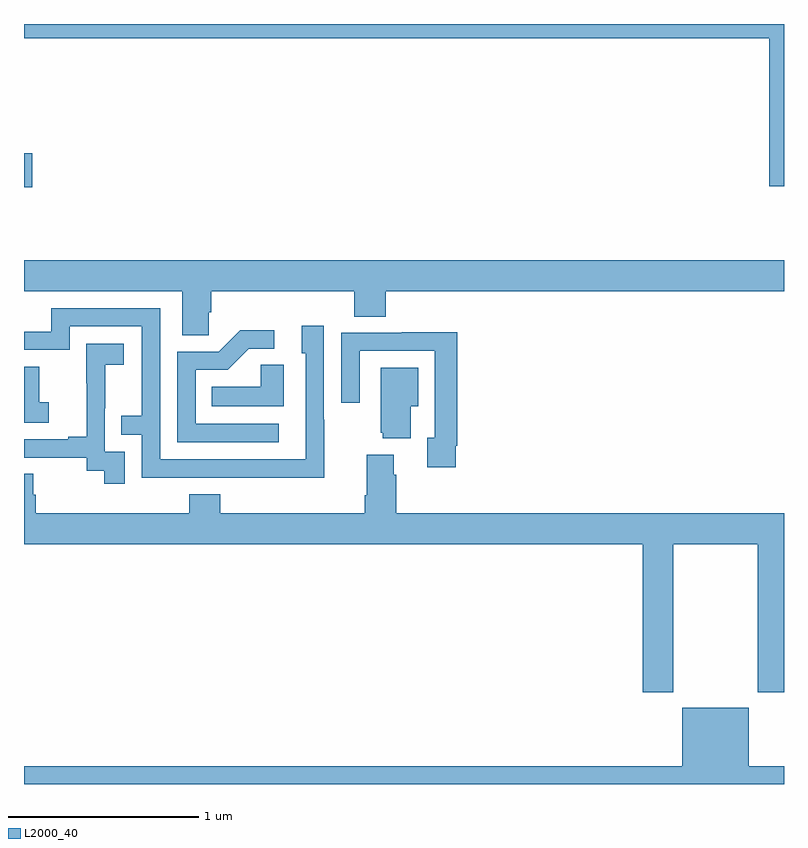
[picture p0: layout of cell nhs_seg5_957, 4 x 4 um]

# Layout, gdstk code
import gdstk
lib = gdstk.Library(unit=1e-6, precision=1e-09)
def R(c, l, rs):  # rectangles x0, y0, x1, y1
    for r in rs: c.add(gdstk.rectangle(r[:2], r[2:], *l))
def P(c, l, *ps):  # polygons
    for p in ps: c.add(gdstk.Polygon(p, *l))
L2000_40 = (2000, 40)

nhs_seg5_957 = lib.new_cell('nhs_seg5_957')
R(nhs_seg5_957, L2000_40, [(171,891.94,171.043,892.118)])
P(nhs_seg5_957, L2000_40, [(175,892.799),(171,892.799),(171,892.724),(174.923,892.724),(174.923,891.945),(175,891.945)],
  [(171.972,891.283),(171.986,891.283),(171.986,891.392),(172.739,891.392),(172.739,891.259),(172.904,891.259),(172.904,891.392),(175,891.392),(175,891.556),(171,891.556),(171,891.392),(171.833,891.392),(171.833,891.16),(171.972,891.16)],
  [(172.581,890.717),(172.578,890.717),(172.578,891.211),(172.463,891.211),(172.463,891.066),(172.482,891.066),(172.482,890.508),(171.717,890.508),(171.717,891.303),(171.143,891.303),(171.143,891.18),(171,891.18),(171,891.084),(171.24,891.084),(171.24,891.207),(171.621,891.207),(171.621,890.738),(171.511,890.738),(171.511,890.637),(171.621,890.637),(171.621,890.412),(172.117,890.412),(172.117,890.411),(172.581,890.411)],
  [(172.342,890.694),(171.903,890.694),(171.903,890.979),(172.072,890.979),(172.183,891.09),(172.318,891.09),(172.318,891.188),(172.139,891.188),(172.026,891.075),(171.807,891.075),(171.807,890.598),(172.342,890.598)],
  [(173.272,890.578),(173.279,890.578),(173.279,891.176),(172.987,891.176),(172.987,891.174),(172.671,891.174),(172.671,890.805),(172.767,890.805),(172.767,891.078),(173.163,891.078),(173.163,890.622),(173.123,890.622),(173.123,890.466),(173.272,890.466)],
  [(171.531,890.547),(171.426,890.547),(171.426,890.777),(171.428,890.777),(171.428,891.005),(171.526,891.005),(171.526,891.115),(171.328,891.115),(171.328,890.909),(171.329,890.909),(171.329,890.626),(171.233,890.626),(171.233,890.613),(171,890.613),(171,890.517),(171.33,890.517),(171.33,890.449),(171.423,890.449),(171.423,890.379),(171.531,890.379)],
  [(172.366,891.005),(172.245,891.005),(172.245,890.89),(171.988,890.89),(171.988,890.786),(172.366,890.786)],
  [(171.13,890.809),(171.081,890.809),(171.081,890.994),(171,890.994),(171,890.7),(171.13,890.7)],
  [(173.035,890.786),(173.074,890.786),(173.074,890.989),(172.877,890.989),(172.877,890.649),(172.889,890.649),(172.889,890.618),(173.035,890.618)],
  [(174.257,889.281),(174.417,889.281),(174.417,890.06),(174.862,890.06),(174.862,889.281),(175,889.281),(175,890.224),(172.958,890.224),(172.958,890.426),(172.945,890.426),(172.945,890.533),(172.805,890.533),(172.805,890.32),(172.793,890.32),(172.793,890.224),(172.034,890.224),(172.034,890.323),(171.869,890.323),(171.869,890.224),(171.062,890.224),(171.062,890.322),(171.049,890.322),(171.049,890.432),(171,890.432),(171,890.06),(174.257,890.06)],
  [(175,888.892),(174.814,888.892),(174.814,889.201),(174.464,889.201),(174.464,888.892),(171,888.892),(171,888.799),(175,888.799)])

lib.write_gds('nhs_seg5_957.gds')
